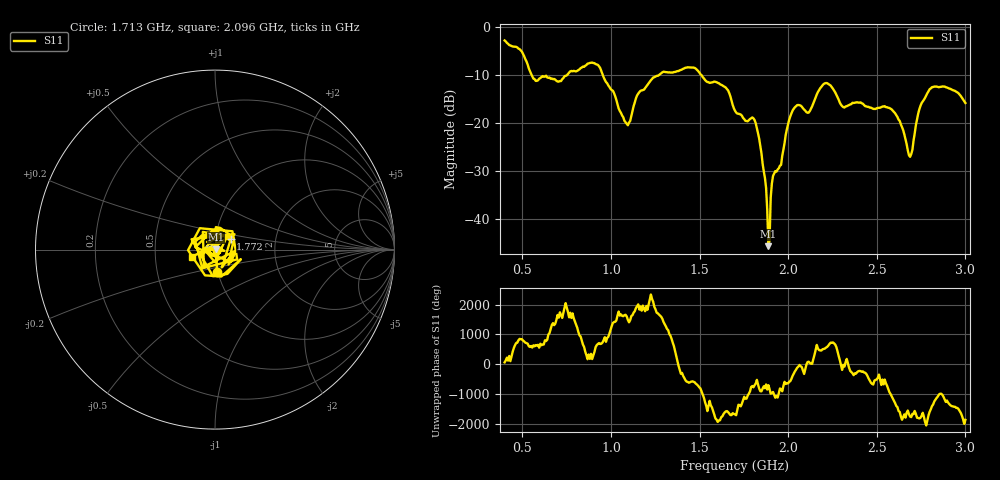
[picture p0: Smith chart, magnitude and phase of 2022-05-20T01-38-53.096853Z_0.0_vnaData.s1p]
!Created with skrf (http://scikit-rf.org).
# Hz S RI R 50.0
!freq ReS11 ImS11
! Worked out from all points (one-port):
!   401 points, 400 MHz to 3 GHz, reference 50 ohm
!   lowest |S11| = -45.5 dB at 1.889 GHz (marker M1), VSWR 1.01, Z = 50.5 + j0.21 ohm
!   |S11| at or under -10 dB: 552.4 MHz to 752.8 MHz (200.4 MHz wide, 30.7 % of centre); 953.6 MHz to 1.272 GHz (318.2 MHz wide, 28.6 % of centre); 1.51 GHz to end of sweep
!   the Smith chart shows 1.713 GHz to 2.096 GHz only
!   S11 on the Smith chart (normalised r, x): 1.713 GHz: 0.99, -0.25; 1.772 GHz: 1.18, +0.14; 2.096 GHz: 0.77, -0.06
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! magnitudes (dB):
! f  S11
! 400 MHz  -2.8
! 491 MHz  -4.9
! 575.5 MHz  -11.2
! 725 MHz  -10.9
! 913.5 MHz  -7.7
! 1.05 GHz  -17.5
! 1.095 GHz  -20.4
! 1.154 GHz  -13.9
! 1.232 GHz  -10.8
! 1.375 GHz  -9.2
! 1.635 GHz  -12.3
! 1.7 GHz  -17.4
! 1.713 GHz  -18.0
! 1.772 GHz  -19.6
! 1.83 GHz  -22.1
! 1.889 GHz  -45.5
! 1.921 GHz  -30.5
! 1.96 GHz  -28.7
! 2.025 GHz  -17.4
! 2.096 GHz  -17.4
! 2.213 GHz  -11.7
! 2.35 GHz  -16.1
! 2.584 GHz  -17.1
! 2.675 GHz  -25.6
! 2.695 GHz  -26.4
! 2.74 GHz  -17.1
! 2.805 GHz  -12.8
! 3 GHz  -15.8
